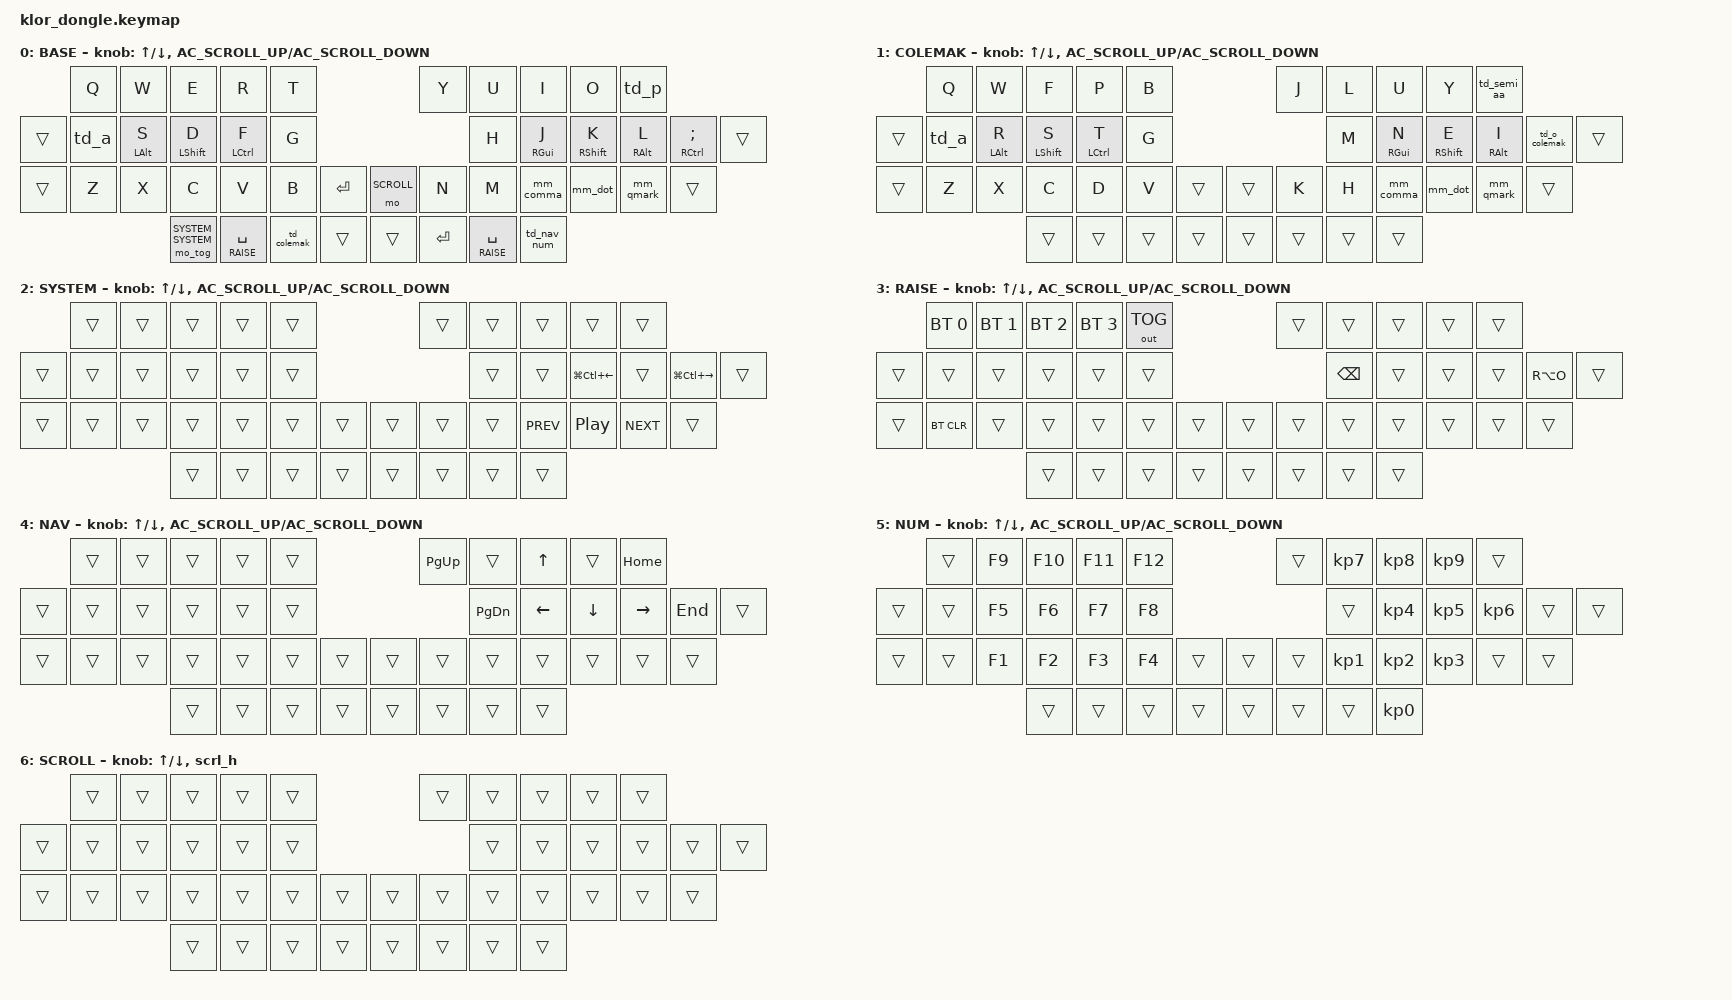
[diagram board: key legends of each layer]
/*
 * KLOR Dongle keymap — Prospector / XIAO BLE acting as split central.
 *
 * The dongle is the central in a ZMK split-with-dongle setup, so this
 * keymap is what actually executes. The peripheral halves only forward
 * key positions (and encoder events) over BLE.
 *
 * Logic mirrors the canonical halves keymap at
 *   zmk-config-klor/config/boards/shields/klor/klor.keymap
 * — same #defines, behaviors, combos, morphs, tapdance, macros, and
 * per-layer bindings + sensor-bindings.
 *
 * Hardware-specific dtsi from the halves (klor.dtsi / klor_common.dtsi,
 * which define kscan, GPIO pins, OLED, real encoder a/b-gpios) is NOT
 * pulled in here: the dongle's overlay (klor_dongle.overlay) supplies
 * the matrix transform plus disabled encoder stubs so sensor-bindings
 * compile while encoder events arrive over BLE.
 */

#include <behaviors.dtsi>
// #include <behaviors/num_word.dtsi>  // removed: not present in ZMK main include path
#include <dt-bindings/zmk/keys.h>
#include <dt-bindings/zmk/bt.h>
#include <dt-bindings/zmk/outputs.h>
#include <dt-bindings/zmk/ext_power.h>
#include <dt-bindings/zmk/rgb.h>
#include <dt-bindings/zmk/pointing.h>

#define BASE     0
#define COLEMAK  1
#define SYSTEM   2
#define RAISE    3
#define NAV      4
#define NUM      5
#define SCROLL   6

#include "combos.dtsi"
#include "macros.dtsi"
#include "behaviors.dtsi"
#include "tapdance.dtsi"
#include "morphs.dtsi"

/ {
    keymap {
        compatible = "zmk,keymap";

// ▄▄▄▄▄▄▄▄▄▄▄▄▄▄▄▄▄▄▄▄▄▄▄▄▄▄▄▄▄▄▄▄▄▄▄▄▄▄▄▄▄▄▄▄▄▄▄▄▄▄▄▄▄▄▄▄▄▄▄▄▄▄▄▄▄▄▄▄▄▄▄▄▄▄▄▄▄▄▄▄▄▄▄▄▄▄▄▄▄▄▄▄▄▄▄▄▄▄▄▄▄

        base_layer {
label= "BASE";
/*             ┌─────────┬─────────┬─────────┬─────────┬─────────┐                    ┌─────────┬─────────┬─────────┬─────────┬─────────┐
               │    Q    │    W    │    E    │    R    │    T    │                    │    Y    │    U    │    I    │    O    │   P/Å   │
   ┌───────────┼─────────┼─────────┼─────────┼─────────┼─────────┤                    ├─────────┼─────────┼─────────┼─────────┼─────────┼───────────┐
   │    ───    │ A/GUI/Ä │  S/ALT  │ D/SHFT  │  F/CTRL │    G    │                    │    H    │  J/GUI  │ K/SHFT  │  L/ALT  │  ;/CTRL │    ───    │
   ├───────────┼─────────┼─────────┼─────────┼─────────┼─────────┤╭────────╮╭────────╮├─────────┼─────────┼─────────┼─────────┼─────────┼───────────┤
   │    ───    │    Z    │    X    │    C    │    V    │    B    ││ ENTER  ││SCR→H   ││    N    │    M    │   ,/;   │   ./:   │   ?/!   │    ───    │
   └───────────┴─────────┴─────────┼─────────┼─────────┼─────────┼╰────────╯╰────────╯┼─────────┼─────────┼─────────┼─────────┴─────────┴───────────┘
                                   │SYS(tog) │SPC/RAISE│ CMKDH  │   ───   ││   ───   │  ENTER  │SPC/RAISE│NAV/NUM  │
                                   └─────────┴─────────┴─────────┴─────────┘└─────────┴─────────┴─────────┴─────────┘  */
bindings = <
//╷           ╷         ╷         ╷         ╷         ╷         ╷         ╷╷         ╷         ╷         ╷         ╷         ╷         ╷           ╷
                &kp Q     &kp W     &kp E     &kp R     &kp T                          &kp Y     &kp U     &kp I     &kp O     &td_p
    &trans      &td_a     &hm LALT S  &hm LSHFT D  &hm LCTRL F  &kp G                  &kp H     &hm RGUI J  &hm RSHFT K  &hm RALT L  &hm RCTRL SEMI  &trans
    &trans      &kp Z     &kp X     &kp C     &kp V     &kp B     &kp RET    &mo SCROLL  &kp N     &kp M     &mm_comma &mm_dot   &mm_qmark &trans
                                    &mo_tog SYSTEM SYSTEM  &lt RAISE SPACE  &td_colemak  &trans  &trans  &kp RET  &lt RAISE SPACE  &td_nav_num
        >;
        sensor-bindings = <&inc_dec_kp UP DOWN &inc_dec_kp C_AC_SCROLL_UP C_AC_SCROLL_DOWN>;
        };

// ▄▄▄▄▄▄▄▄▄▄▄▄▄▄▄▄▄▄▄▄▄▄▄▄▄▄▄▄▄▄▄▄▄▄▄▄▄▄▄▄▄▄▄▄▄▄▄▄▄▄▄▄▄▄▄▄▄▄▄▄▄▄▄▄▄▄▄▄▄▄▄▄▄▄▄▄▄▄▄▄▄▄▄▄▄▄▄▄▄▄▄▄▄▄▄▄▄▄▄▄▄

        colemak_layer {
label= "COLEMAK";
/*             ┌─────────┬─────────┬─────────┬─────────┬─────────┐                    ┌─────────┬─────────┬─────────┬─────────┬─────────┐
               │    Q    │    W    │    F    │    P    │    B    │                    │    J    │    L    │    U    │    Y    │  ;/Å    │
   ┌───────────┼─────────┼─────────┼─────────┼─────────┼─────────┤                    ├─────────┼─────────┼─────────┼─────────┼─────────┼───────────┐
   │    ───    │ A/GUI/Ä │  R/ALT  │ S/SHFT  │  T/CTRL │    G    │                    │    M    │  N/GUI  │ E/SHFT  │  I/ALT  │ O/CTRL/Ö│    ───    │
   ├───────────┼─────────┼─────────┼─────────┼─────────┼─────────┤╭────────╮╭────────╮├─────────┼─────────┼─────────┼─────────┼─────────┼───────────┤
   │    ───    │    Z    │    X    │    C    │    D    │    V    ││ ENTER  ││SCR→H   ││    K    │    H    │   ,/;   │   ./:   │   ?/!   │    ───    │
   └───────────┴─────────┴─────────┼─────────┼─────────┼─────────┼╰────────╯╰────────╯┼─────────┼─────────┼─────────┼─────────┴─────────┴───────────┘
                                   │  (SYS)  │(RAISE)  │ CMKDH  │   ───   ││   ───   │ (ENTER) │(RAISE)  │(NAV/NUM)│
                                   └─────────┴─────────┴─────────┴─────────┘└─────────┴─────────┴─────────┴─────────┘  */
bindings = <
//╷           ╷         ╷         ╷         ╷         ╷         ╷         ╷╷         ╷         ╷         ╷         ╷         ╷         ╷           ╷
                &kp Q     &kp W     &kp F     &kp P     &kp B                          &kp J     &kp L     &kp U     &kp Y     &td_semi_aa
    &trans      &td_a     &hm LALT R  &hm LSHFT S  &hm LCTRL T  &kp G                  &kp M     &hm RGUI N  &hm RSHFT E  &hm RALT I  &td_o_colemak  &trans
    &trans      &kp Z     &kp X     &kp C     &kp D     &kp V     &trans     &trans    &kp K     &kp H     &mm_comma &mm_dot   &mm_qmark &trans
                                    &trans    &trans    &trans    &trans     &trans    &trans    &trans    &trans
        >;
        sensor-bindings = <&inc_dec_kp UP DOWN &inc_dec_kp C_AC_SCROLL_UP C_AC_SCROLL_DOWN>;
        };

// ▄▄▄▄▄▄▄▄▄▄▄▄▄▄▄▄▄▄▄▄▄▄▄▄▄▄▄▄▄▄▄▄▄▄▄▄▄▄▄▄▄▄▄▄▄▄▄▄▄▄▄▄▄▄▄▄▄▄▄▄▄▄▄▄▄▄▄▄▄▄▄▄▄▄▄▄▄▄▄▄▄▄▄▄▄▄▄▄▄▄▄▄▄▄▄▄▄▄▄▄▄

        system_layer {
label= "SYSTEM";
/*             ┌─────────┬─────────┬─────────┬─────────┬─────────┐                    ┌─────────┬─────────┬─────────┬─────────┬─────────┐
               │         │         │         │         │         │                    │         │         │         │         │         │
   ┌───────────┼─────────┼─────────┼─────────┼─────────┼─────────┤                    ├─────────┼─────────┼─────────┼─────────┼─────────┼───────────┐
   │           │         │         │         │         │         │                    │         │W+C+←    │         │W+C+→    │         │           │
   ├───────────┼─────────┼─────────┼─────────┼─────────┼─────────┤╭────────╮╭────────╮├─────────┼─────────┼─────────┼─────────┼─────────┼───────────┤
   │           │         │         │         │         │         ││        ││        ││         │         │ C_PREV  │  C_PP   │ C_NEXT  │           │
   └───────────┴─────────┴─────────┼─────────┼─────────┼─────────┼╰────────╯╰────────╯┼─────────┼─────────┼─────────┼─────────┴─────────┴───────────┘
                                   │         │         │         │         ││         │         │         │         │                                  */
bindings = <
//╷           ╷         ╷         ╷         ╷         ╷         ╷         ╷╷         ╷         ╷         ╷         ╷         ╷         ╷           ╷
                &trans    &trans    &trans    &trans     &trans                         &trans    &trans   &trans     &trans    &trans
    &trans      &trans    &trans    &trans    &trans     &trans               &trans    &trans    &kp LG(LC(LEFT)) &trans     &kp LG(LC(RIGHT)) &trans
    &trans      &trans    &trans    &trans    &trans     &trans    &trans     &trans    &trans    &trans   &kp C_PREV  &kp C_PP  &kp C_NEXT  &trans
                                    &trans    &trans     &trans    &trans     &trans    &trans    &trans   &trans
        >;
        sensor-bindings = <&inc_dec_kp UP DOWN &inc_dec_kp C_AC_SCROLL_UP C_AC_SCROLL_DOWN>;
        };

// ▄▄▄▄▄▄▄▄▄▄▄▄▄▄▄▄▄▄▄▄▄▄▄▄▄▄▄▄▄▄▄▄▄▄▄▄▄▄▄▄▄▄▄▄▄▄▄▄▄▄▄▄▄▄▄▄▄▄▄▄▄▄▄▄▄▄▄▄▄▄▄▄▄▄▄▄▄▄▄▄▄▄▄▄▄▄▄▄▄▄▄▄▄▄▄▄▄▄▄▄▄

        raise_layer {
label= "RAISE";
/*             ┌─────────┬─────────┬─────────┬─────────┬─────────┐                    ┌─────────┬─────────┬─────────┬─────────┬─────────┐
               │  BT 0   │  BT 1   │  BT 2   │  BT 3   │OUT TOG  │                    │         │         │         │         │         │
   ┌───────────┼─────────┼─────────┼─────────┼─────────┼─────────┤                    ├─────────┼─────────┼─────────┼─────────┼─────────┼───────────┐
   │           │ BT CLR  │         │         │         │         │                    │  BSPC   │         │         │         │    Ö    │           │
   ├───────────┼─────────┼─────────┼─────────┼─────────┼─────────┤╭────────╮╭────────╮├─────────┼─────────┼─────────┼─────────┼─────────┼───────────┤
   │           │         │         │         │         │         ││        ││        ││         │         │         │         │         │           │
   └───────────┴─────────┴─────────┼─────────┼─────────┼─────────┼╰────────╯╰────────╯┼─────────┼─────────┼─────────┼─────────┴─────────┴───────────┘
                                   │         │         │         │         ││         │         │         │         │                                  */
bindings = <
//╷           ╷         ╷         ╷         ╷         ╷         ╷         ╷╷         ╷         ╷         ╷         ╷         ╷         ╷           ╷
                &bt BT_SEL 0  &bt BT_SEL 1  &bt BT_SEL 2  &bt BT_SEL 3  &out OUT_TOG              &trans    &trans    &trans    &trans    &trans
    &trans      &trans        &trans        &trans        &trans        &trans                    &kp BSPC  &trans    &trans    &trans    &kp RA(O) &trans
    &trans      &bt BT_CLR    &trans        &trans        &trans        &trans    &trans  &trans  &trans    &trans    &trans    &trans    &trans    &trans
                                            &trans        &trans        &trans    &trans  &trans  &trans    &trans    &trans
        >;
        sensor-bindings = <&inc_dec_kp UP DOWN &inc_dec_kp C_AC_SCROLL_UP C_AC_SCROLL_DOWN>;
        };

// ▄▄▄▄▄▄▄▄▄▄▄▄▄▄▄▄▄▄▄▄▄▄▄▄▄▄▄▄▄▄▄▄▄▄▄▄▄▄▄▄▄▄▄▄▄▄▄▄▄▄▄▄▄▄▄▄▄▄▄▄▄▄▄▄▄▄▄▄▄▄▄▄▄▄▄▄▄▄▄▄▄▄▄▄▄▄▄▄▄▄▄▄▄▄▄▄▄▄▄▄▄

        nav_layer {
label= "NAV";
bindings = <
//╷           ╷         ╷         ╷         ╷         ╷         ╷         ╷╷         ╷         ╷         ╷         ╷         ╷         ╷           ╷
                &trans    &trans    &trans    &trans    &trans                         &kp PG_UP    &trans    &kp UP    &trans    &kp HOME
    &trans      &trans    &trans    &trans    &trans    &trans                         &kp PG_DN     &kp LEFT    &kp DOWN    &kp RIGHT    &kp END    &trans
    &trans      &trans    &trans    &trans    &trans    &trans    &trans     &trans    &trans    &trans    &trans    &trans    &trans    &trans
                                    &trans    &trans    &trans    &trans     &trans    &trans    &trans    &trans
        >;
        sensor-bindings = <&inc_dec_kp UP DOWN &inc_dec_kp C_AC_SCROLL_UP C_AC_SCROLL_DOWN>;
        };

// ▄▄▄▄▄▄▄▄▄▄▄▄▄▄▄▄▄▄▄▄▄▄▄▄▄▄▄▄▄▄▄▄▄▄▄▄▄▄▄▄▄▄▄▄▄▄▄▄▄▄▄▄▄▄▄▄▄▄▄▄▄▄▄▄▄▄▄▄▄▄▄▄▄▄▄▄▄▄▄▄▄▄▄▄▄▄▄▄▄▄▄▄▄▄▄▄▄▄▄▄▄

        num_layer {
label= "NUM";
bindings = <
//╷           ╷         ╷         ╷         ╷         ╷         ╷         ╷╷         ╷         ╷         ╷         ╷         ╷         ╷           ╷
                &trans    &kp F9    &kp F10   &kp F11   &kp F12                        &trans    &kp KP_N7  &kp KP_N8  &kp KP_N9  &trans
    &trans      &trans    &kp F5    &kp F6    &kp F7    &kp F8                         &trans    &kp KP_N4  &kp KP_N5  &kp KP_N6  &trans  &trans
    &trans      &trans    &kp F1    &kp F2    &kp F3    &kp F4    &trans     &trans    &trans    &kp KP_N1  &kp KP_N2  &kp KP_N3  &trans  &trans
                                    &trans    &trans    &trans    &trans     &trans    &trans    &trans     &kp KP_N0
        >;
        sensor-bindings = <&inc_dec_kp UP DOWN &inc_dec_kp C_AC_SCROLL_UP C_AC_SCROLL_DOWN>;
        };

// ▄▄▄▄▄▄▄▄▄▄▄▄▄▄▄▄▄▄▄▄▄▄▄▄▄▄▄▄▄▄▄▄▄▄▄▄▄▄▄▄▄▄▄▄▄▄▄▄▄▄▄▄▄▄▄▄▄▄▄▄▄▄▄▄▄▄▄▄▄▄▄▄▄▄▄▄▄▄▄▄▄▄▄▄▄▄▄▄▄▄▄▄▄▄▄▄▄▄▄▄▄

        scroll_layer {
label= "SCROLL";
bindings = <
//╷           ╷         ╷         ╷         ╷         ╷         ╷         ╷╷         ╷         ╷         ╷         ╷         ╷         ╷           ╷
                &trans    &trans    &trans    &trans    &trans                         &trans    &trans    &trans    &trans    &trans
    &trans      &trans    &trans    &trans    &trans    &trans                         &trans    &trans    &trans    &trans    &trans    &trans
    &trans      &trans    &trans    &trans    &trans    &trans    &trans     &trans    &trans    &trans    &trans    &trans    &trans    &trans
                                    &trans    &trans    &trans    &trans     &trans    &trans    &trans    &trans
        >;
        sensor-bindings = <&inc_dec_kp UP DOWN &scrl_h>;
        };

    };
};
